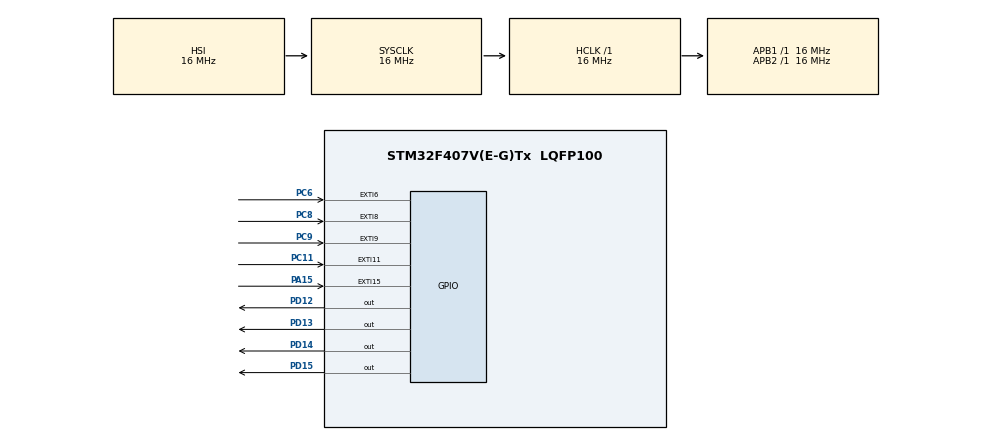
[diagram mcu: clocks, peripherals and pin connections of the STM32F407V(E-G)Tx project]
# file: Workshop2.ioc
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Mcu.Family=STM32F4
Mcu.Name=STM32F407V(E-G)Tx
Mcu.Package=LQFP100
NVIC.EXTI15_10_IRQn=true\:0\:0\:false\:false\:true\:true\:true
NVIC.EXTI9_5_IRQn=true\:0\:0\:false\:false\:true\:true\:true
NVIC.PriorityGroup=NVIC_PRIORITYGROUP_4
PA15.GPIO_ModeDefaultEXTI=GPIO_MODE_IT_FALLING
PA15.Signal=GPXTI15
PC11.GPIO_ModeDefaultEXTI=GPIO_MODE_IT_FALLING
PC11.Signal=GPXTI11
PC6.GPIO_ModeDefaultEXTI=GPIO_MODE_IT_FALLING
PC6.Signal=GPXTI6
PC8.GPIO_ModeDefaultEXTI=GPIO_MODE_IT_FALLING
PC8.Signal=GPXTI8
PC9.GPIO_ModeDefaultEXTI=GPIO_MODE_IT_FALLING
PC9.Signal=GPXTI9
PD12.Signal=GPIO_Output
PD13.Signal=GPIO_Output
PD14.Signal=GPIO_Output
PD15.Signal=GPIO_Output
ProjectManager.HeapSize=0x200
ProjectManager.StackSize=0x400
ProjectManager.TargetToolchain=STM32CubeIDE
RCC.AHBFreq_Value=16000000
RCC.APB1Freq_Value=16000000
RCC.APB2Freq_Value=16000000
RCC.CortexFreq_Value=16000000
RCC.HSE_VALUE=25000000
RCC.HSI_VALUE=16000000
RCC.LSE_VALUE=32768
RCC.SYSCLKFreq_VALUE=16000000
RCC.VCOOutputFreq_Value=192000000
board=custom

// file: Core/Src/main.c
/* USER CODE BEGIN Header */
/**
  ******************************************************************************
  * @file           : main.c
  * @brief          : Main program body
  ******************************************************************************
  * @attention
  *
  * <h2><center>&copy; Copyright (c) 2021 STMicroelectronics.
  * All rights reserved.</center></h2>
  *
  * This software component is licensed by ST under BSD 3-Clause license,
  * the "License"; You may not use this file except in compliance with the
  * License. You may obtain a copy of the License at:
  *                        opensource.org/licenses/BSD-3-Clause
  *
  ******************************************************************************
  */
/* USER CODE END Header */
#include "main.h"

void SystemClock_Config(void);
static void MX_GPIO_Init(void);

/* USER CODE BEGIN 0 */

int isOn = 1;
int scheme = 1;
int customDelay = 500;
const uint16_t roundPins[] = { GPIO_PIN_12, GPIO_PIN_13, GPIO_PIN_14, GPIO_PIN_15 };

void setPin(uint16_t GPIO_Pin)
{
	if (HAL_GPIO_ReadPin(GPIOD, GPIO_Pin) == GPIO_PIN_RESET)
		HAL_GPIO_WritePin(GPIOD, GPIO_Pin, GPIO_PIN_SET);
}

void resetPin(uint16_t GPIO_Pin)
{
	if (HAL_GPIO_ReadPin(GPIOD, GPIO_Pin) == GPIO_PIN_SET)
		HAL_GPIO_WritePin(GPIOD, GPIO_Pin, GPIO_PIN_RESET);
}

void setAllPins()
{
	for (int i = 0; i < 4; i++)
	{
		setPin(roundPins[i]);
	}
}

void resetAllPins()
{
	for (int i = 0; i < 4; i++)
	{
		resetPin(roundPins[i]);
	}
}

// this function delays for customDelay time and checks whether it's time to stop blinking
int delayAndCheck(int blinkingScheme)
{
	HAL_Delay(customDelay);
	if (isOn != 1 || blinkingScheme != scheme)
		return 1;
	return 0;
}

// first blinking scheme
void blink1()
{
	int round = 0;
	while (1)
	{
		round -= 1;		// one pin back

		if (round < 0)	// it's for not to exceed the array borders
			round += 4;

		resetPin(roundPins[round]);

		round += 2;		// two pins forward

		if (round > 3)	// it's for not to exceed the array borders
			round -= 4;

		setPin(roundPins[round]);

		if (delayAndCheck(1))
			break;
	}
	resetAllPins();		// for excessive safety
}

// second blinking scheme
void blink2()
{
	while (1)	// I made second scheme as a linear algorithm
	{
		setPin(roundPins[1]);
		setPin(roundPins[3]);

		if (delayAndCheck(2))
			break;

		resetPin(roundPins[1]);
		resetPin(roundPins[3]);

		setPin(roundPins[0]);
		setPin(roundPins[2]);

		if (delayAndCheck(2))
			break;

		setPin(roundPins[1]);
		setPin(roundPins[3]);

		if (delayAndCheck(2))
			break;

		resetAllPins();

		if (delayAndCheck(2))
			break;
	}
	resetAllPins();		// for excessive safety

}

// third blinking scheme
void blink3()
{
	int round;
	while (1)
	{
		round = 0;

		for (int i = 0; i < 2; i++)
		{
			for (int j = 0; j < 2; j++)
			{
				setPin(roundPins[round]);	// set pin
				if (delayAndCheck(3))
					break;

				resetPin(roundPins[round]);	// and reset it
				if (delayAndCheck(3))
					break;

				round += 2;					// then take opposite and do the same

				if (round > 3)	// it's for not to exceed the array borders
					round -= 4;
			}
			if (isOn != 1 || scheme != 3)
				break;

			round += 1;						// then take another 2 pins and do the same

			if (round > 3)		// it's for not to exceed the array borders
				round -= 4;
		}
		if (isOn != 1 || scheme != 3)
			break;

		setAllPins();						// set all pins

		if (delayAndCheck(3))
			break;

		resetAllPins();						// and reset all pins

		if (delayAndCheck(3))
			break;
	}
	resetAllPins();		// for excessive safety

}

/* USER CODE END 0 */

int main(void)
{

  /* MCU Configuration--------------------------------------------------------*/

  /* Reset of all peripherals, Initializes the Flash interface and the Systick. */
  HAL_Init();

  /* Configure the system clock */
  SystemClock_Config();

  /* Initialize all configured peripherals */
  MX_GPIO_Init();

  /* Infinite loop */
  /* USER CODE BEGIN WHILE */
  while (1)
  {
	  if (isOn == 1)
	  {
		  if (scheme == 1)
			  blink1();

		  if (scheme == 2)
			  blink2();

		  if (scheme == 3)
			  blink3();
	  }
    /* USER CODE END WHILE */

  }
}

void SystemClock_Config(void)
{
  RCC_OscInitTypeDef RCC_OscInitStruct = {0};
  RCC_ClkInitTypeDef RCC_ClkInitStruct = {0};

  /** Configure the main internal regulator output voltage
  */
  __HAL_RCC_PWR_CLK_ENABLE();
  __HAL_PWR_VOLTAGESCALING_CONFIG(PWR_REGULATOR_VOLTAGE_SCALE1);
  /** Initializes the RCC Oscillators according to the specified parameters
  * in the RCC_OscInitTypeDef structure.
  */
  RCC_OscInitStruct.OscillatorType = RCC_OSCILLATORTYPE_HSI;
  RCC_OscInitStruct.HSIState = RCC_HSI_ON;
  RCC_OscInitStruct.HSICalibrationValue = RCC_HSICALIBRATION_DEFAULT;
  RCC_OscInitStruct.PLL.PLLState = RCC_PLL_NONE;
  if (HAL_RCC_OscConfig(&RCC_OscInitStruct) != HAL_OK)
  {
    Error_Handler();
  }
  /** Initializes the CPU, AHB and APB buses clocks
  */
  RCC_ClkInitStruct.ClockType = RCC_CLOCKTYPE_HCLK|RCC_CLOCKTYPE_SYSCLK
                              |RCC_CLOCKTYPE_PCLK1|RCC_CLOCKTYPE_PCLK2;
  RCC_ClkInitStruct.SYSCLKSource = RCC_SYSCLKSOURCE_HSI;
  RCC_ClkInitStruct.AHBCLKDivider = RCC_SYSCLK_DIV1;
  RCC_ClkInitStruct.APB1CLKDivider = RCC_HCLK_DIV1;
  RCC_ClkInitStruct.APB2CLKDivider = RCC_HCLK_DIV1;

  if (HAL_RCC_ClockConfig(&RCC_ClkInitStruct, FLASH_LATENCY_0) != HAL_OK)
  {
    Error_Handler();
  }
}

static void MX_GPIO_Init(void)
{
  GPIO_InitTypeDef GPIO_InitStruct = {0};

  /* GPIO Ports Clock Enable */
  __HAL_RCC_GPIOD_CLK_ENABLE();
  __HAL_RCC_GPIOC_CLK_ENABLE();
  __HAL_RCC_GPIOA_CLK_ENABLE();

  /*Configure GPIO pin Output Level */
  HAL_GPIO_WritePin(GPIOD, GPIO_PIN_12|GPIO_PIN_13|GPIO_PIN_14|GPIO_PIN_15, GPIO_PIN_RESET);

  /*Configure GPIO pins : PD12 PD13 PD14 PD15 */
  GPIO_InitStruct.Pin = GPIO_PIN_12|GPIO_PIN_13|GPIO_PIN_14|GPIO_PIN_15;
  GPIO_InitStruct.Mode = GPIO_MODE_OUTPUT_PP;
  GPIO_InitStruct.Pull = GPIO_NOPULL;
  GPIO_InitStruct.Speed = GPIO_SPEED_FREQ_LOW;
  HAL_GPIO_Init(GPIOD, &GPIO_InitStruct);

  /*Configure GPIO pins : PC6 PC8 PC9 PC11 */
  GPIO_InitStruct.Pin = GPIO_PIN_6|GPIO_PIN_8|GPIO_PIN_9|GPIO_PIN_11;
  GPIO_InitStruct.Mode = GPIO_MODE_IT_FALLING;
  GPIO_InitStruct.Pull = GPIO_NOPULL;
  HAL_GPIO_Init(GPIOC, &GPIO_InitStruct);

  /*Configure GPIO pin : PA15 */
  GPIO_InitStruct.Pin = GPIO_PIN_15;
  GPIO_InitStruct.Mode = GPIO_MODE_IT_FALLING;
  GPIO_InitStruct.Pull = GPIO_NOPULL;
  HAL_GPIO_Init(GPIOA, &GPIO_InitStruct);

  /* EXTI interrupt init*/
  HAL_NVIC_SetPriority(EXTI9_5_IRQn, 0, 0);
  HAL_NVIC_EnableIRQ(EXTI9_5_IRQn);

  HAL_NVIC_SetPriority(EXTI15_10_IRQn, 0, 0);
  HAL_NVIC_EnableIRQ(EXTI15_10_IRQn);

}

/* USER CODE BEGIN 4 */

// This function is executed each time button interruption happens
void HAL_GPIO_EXTI_Callback(uint16_t GPIO_PIN)
{
	if (GPIO_PIN == GPIO_PIN_15)	// on/off scheme
	{
		if (isOn == 1)
		{
			isOn = 0;
			resetAllPins();
		}
		else
			isOn = 1;
	}
	if (GPIO_PIN == GPIO_PIN_6)		// increase speed
	{
		if (customDelay < 1000)
			customDelay *= 2;
	}
	if (GPIO_PIN == GPIO_PIN_8)		// decrease speed
	{
		if (customDelay > 100)
			customDelay /= 2;
	}
	if (GPIO_PIN == GPIO_PIN_9)		// next scheme
	{
		if (scheme < 3)
		{
			scheme++;
		}
		else
		{
			scheme = 1;
		}
		resetAllPins();
	}
	if (GPIO_PIN == GPIO_PIN_11)	// previous scheme
	{
		if (scheme > 1)
		{
			scheme--;
		}
		else
		{
			scheme = 3;
		}
		resetAllPins();
	}
}

/* USER CODE END 4 */

void Error_Handler(void)
{
  __disable_irq();
  while (1)
  {
  }
}

/************************ (C) COPYRIGHT STMicroelectronics *****END OF FILE****/
